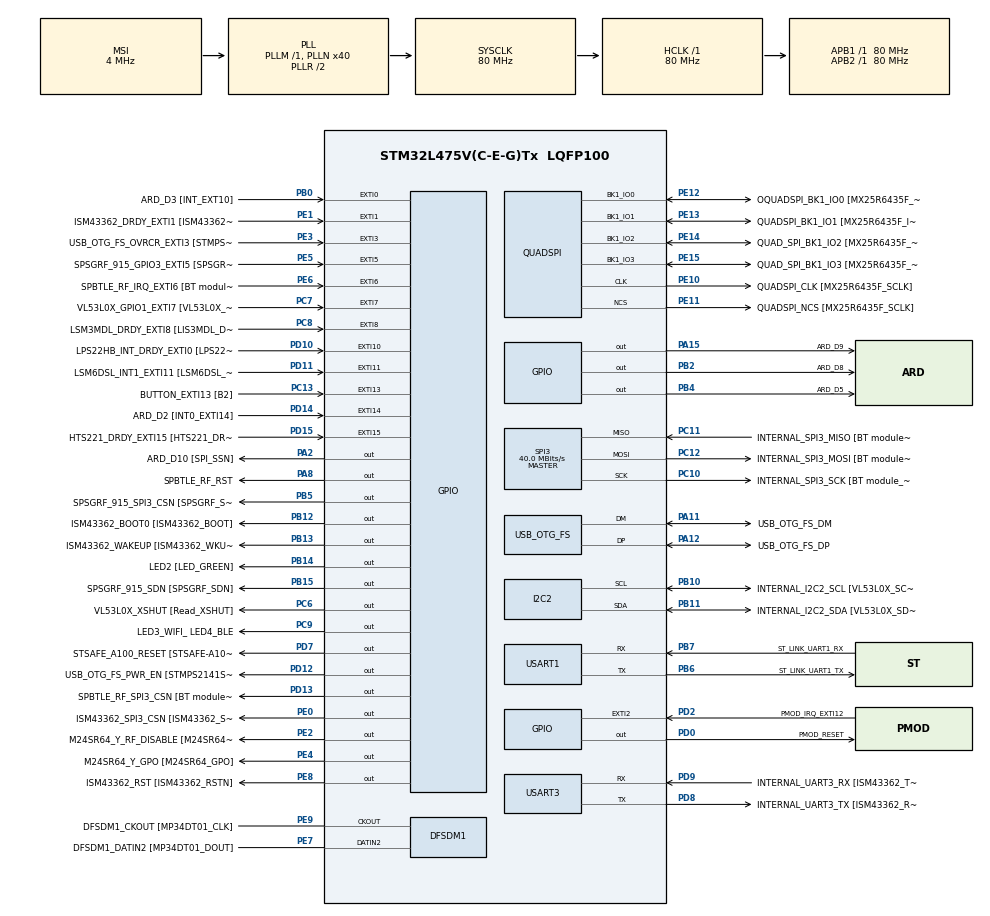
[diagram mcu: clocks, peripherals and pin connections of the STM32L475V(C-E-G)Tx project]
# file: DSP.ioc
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Dma.Request0=USART1_TX
Dma.USART1_TX.0.Direction=DMA_MEMORY_TO_PERIPH
Dma.USART1_TX.0.Instance=DMA1_Channel4
Dma.USART1_TX.0.MemDataAlignment=DMA_MDATAALIGN_BYTE
Dma.USART1_TX.0.MemInc=DMA_MINC_ENABLE
Dma.USART1_TX.0.Mode=DMA_NORMAL
Dma.USART1_TX.0.PeriphDataAlignment=DMA_PDATAALIGN_BYTE
Dma.USART1_TX.0.PeriphInc=DMA_PINC_DISABLE
Dma.USART1_TX.0.Priority=DMA_PRIORITY_LOW
I2C2.Timing=0x10909CEC
Mcu.Family=STM32L4
Mcu.Name=STM32L475V(C-E-G)Tx
Mcu.Package=LQFP100
NVIC.DMA1_Channel4_IRQn=true\:0\:0\:false\:false\:true\:false\:true\:true
NVIC.EXTI15_10_IRQn=true\:0\:0\:false\:false\:true\:true\:true\:true
NVIC.EXTI9_5_IRQn=true\:0\:0\:false\:false\:true\:true\:true\:true
NVIC.PriorityGroup=NVIC_PRIORITYGROUP_4
PA0.GPIO_Label=ARD_D1 [UART4_TX]
PA0.Signal=UART4_TX
PA1.GPIO_Label=ARD_D0 [UART4_RX]
PA1.Signal=UART4_RX
PA10.GPIO_Label=USB_OTG_FS_ID
PA10.Signal=USB_OTG_FS_ID
PA11.GPIO_Label=USB_OTG_FS_DM
PA11.Mode=Device_Only
PA11.Signal=USB_OTG_FS_DM
PA12.GPIO_Label=USB_OTG_FS_DP
PA12.Mode=Device_Only
PA12.Signal=USB_OTG_FS_DP
PA13\ (JTMS-SWDIO).GPIO_Label=SYS_JTMS_SWDIO
PA13\ (JTMS-SWDIO).Mode=Serial_Wire
PA13\ (JTMS-SWDIO).Signal=SYS_JTMS-SWDIO
PA14\ (JTCK-SWCLK).GPIO_Label=SYS_JTCK_SWCLK
PA14\ (JTCK-SWCLK).Mode=Serial_Wire
PA14\ (JTCK-SWCLK).Signal=SYS_JTCK-SWCLK
PA15\ (JTDI).GPIO_Label=ARD_D9
PA15\ (JTDI).Signal=GPIO_Output
PA2.GPIO_Label=ARD_D10 [SPI_SSN]
PA2.Signal=GPIO_Output
PA3.GPIO_Label=ARD_D4
PA3.Signal=S_TIM2_CH4
PA4.GPIO_Label=ARD_D7
PA4.Signal=ADCx_IN9
PA5.GPIO_Label=ARD_D13 [SPI1_SCK]
PA5.Signal=SPI1_SCK
PA6.GPIO_Label=ARD_D12 [SPI1_MISO]
PA6.Signal=SPI1_MISO
PA7.GPIO_Label=ARD_D11 [SPI1_MOSI]
PA7.Signal=SPI1_MOSI
PA8.GPIO_Label=SPBTLE_RF_RST
PA8.Signal=GPIO_Output
PA9.GPIO_Label=USB_OTG_FS_VBUS [STMPS2141STR_OUT]
PA9.Signal=USB_OTG_FS_VBUS
PB0.GPIO_Label=ARD_D3 [INT_EXT10]
PB0.Signal=GPXTI0
PB1.GPIO_Label=ARD_D6 [ADC1_IN6]
PB1.Signal=ADCx_IN16
PB10.GPIO_Label=INTERNAL_I2C2_SCL [VL53L0X_SCL]
PB10.GPIO_Pu=GPIO_PULLUP
PB10.Mode=I2C
PB10.Signal=I2C2_SCL
PB11.GPIO_Label=INTERNAL_I2C2_SDA [VL53L0X_SDA]
PB11.GPIO_Pu=GPIO_PULLUP
PB11.Mode=I2C
PB11.Signal=I2C2_SDA
PB12.GPIO_Label=ISM43362_BOOT0 [ISM43362_BOOT]
PB12.Signal=GPIO_Output
PB13.GPIO_Label=ISM43362_WAKEUP [ISM43362_WKUP]
PB13.Signal=GPIO_Output
PB14.GPIO_Label=LED2 [LED_GREEN]
PB14.Signal=GPIO_Output
PB15.GPIO_Label=SPSGRF_915_SDN [SPSGRF_SDN]
PB15.Signal=GPIO_Output
PB2.GPIO_Label=ARD_D8
PB2.Signal=GPIO_Output
PB3\ (JTDO-TRACESWO).GPIO_Label=SYS_JTD0_SWO
PB3\ (JTDO-TRACESWO).Signal=SYS_JTDO-SWO
PB4\ (NJTRST).GPIO_Label=ARD_D5
PB4\ (NJTRST).Signal=GPIO_Output
PB5.GPIO_Label=SPSGRF_915_SPI3_CSN [SPSGRF_SPI_CS]
PB5.PinState=GPIO_PIN_SET
PB5.Signal=GPIO_Output
PB6.GPIO_Label=ST_LINK_UART1_TX
PB6.Mode=Asynchronous
PB6.Signal=USART1_TX
PB7.GPIO_Label=ST_LINK_UART1_RX
PB7.Mode=Asynchronous
PB7.Signal=USART1_RX
PB8.GPIO_Label=ARD_D15 [I2C1_SCL]
PB8.Signal=I2C1_SCL
PB9.GPIO_Label=ARD_D14 [I2C1_SDA]
PB9.Signal=I2C1_SDA
PC0.GPIO_Label=ARD_A5 [ADC]
PC0.Signal=ADCx_IN1
PC1.GPIO_Label=ARD_A4 [ADC]
PC1.Signal=ADCx_IN2
PC10.GPIO_Label=INTERNAL_SPI3_SCK [BT module_SPI_SCLK] [ISM43362_SCK]
PC10.Mode=Full_Duplex_Master
PC10.Signal=SPI3_SCK
PC11.GPIO_Label=INTERNAL_SPI3_MISO [BT module_SPI_MISO] [ISM43362_MISO]
PC11.Mode=Full_Duplex_Master
PC11.Signal=SPI3_MISO
PC12.GPIO_Label=INTERNAL_SPI3_MOSI [BT module_SPI_MOSI] [ISM43362_MOSI]
PC12.Mode=Full_Duplex_Master
PC12.Signal=SPI3_MOSI
PC13.GPIO_Label=BUTTON_EXTI13 [B2]
PC13.GPIO_ModeDefaultEXTI=GPIO_MODE_IT_FALLING
PC13.Signal=GPXTI13
PC14-OSC32_IN\ (PC14).Mode=LSE-External-Oscillator
PC14-OSC32_IN\ (PC14).Signal=RCC_OSC32_IN
PC15-OSC32_OUT\ (PC15).Mode=LSE-External-Oscillator
PC15-OSC32_OUT\ (PC15).Signal=RCC_OSC32_OUT
PC2.GPIO_Label=ARD_A3 [ADC]
PC2.Signal=ADCx_IN3
PC3.GPIO_Label=ARD_A2 [ADC]
PC3.Signal=ADCx_IN4
PC4.GPIO_Label=ARD_A1 [ADC]
PC4.Signal=ADCx_IN13
PC5.GPIO_Label=ARD_A0 [ADC]
PC5.Signal=ADCx_IN14
PC6.GPIO_Label=VL53L0X_XSHUT [Read_XSHUT]
PC6.Signal=GPIO_Output
PC7.GPIO_Label=VL53L0X_GPIO1_EXTI7 [VL53L0X_GPIO1]
PC7.Signal=GPXTI7
PC8.GPIO_Label=LSM3MDL_DRDY_EXTI8 [LIS3MDL_DRDY]
PC8.Signal=GPXTI8
PC9.GPIO_Label=LED3_WIFI_ LED4_BLE
PC9.Signal=GPIO_Output
PD0.GPIO_Label=PMOD_RESET
PD0.Signal=GPIO_Output
PD1.GPIO_Label=PMOD_SPI2_SCK
PD1.Signal=SPI2_SCK
PD10.GPIO_Label=LPS22HB_INT_DRDY_EXTI0 [LPS22HB_INT_DRDY] 
PD10.Signal=GPXTI10
PD11.GPIO_Label=LSM6DSL_INT1_EXTI11 [LSM6DSL_INT1]
PD11.Signal=GPXTI11
PD12.GPIO_Label=USB_OTG_FS_PWR_EN [STMPS2141STR_EN]
PD12.Signal=GPIO_Output
PD13.GPIO_Label=SPBTLE_RF_SPI3_CSN [BT module_SPI_CS]
PD13.PinState=GPIO_PIN_SET
PD13.Signal=GPIO_Output
PD14.GPIO_Label=ARD_D2 [INT0_EXTI14]
PD14.Signal=GPXTI14
PD15.GPIO_Label=HTS221_DRDY_EXTI15 [HTS221_DRDY]
PD15.Signal=GPXTI15
PD2.GPIO_Label=PMOD_IRQ_EXTI12
PD2.Signal=GPXTI2
PD3.GPIO_Label=PMOD_UART2_CTS
PD3.Signal=USART2_CTS
PD4.GPIO_Label=PMOD_UART2_RTS
PD4.Signal=USART2_RTS
PD5.GPIO_Label=PMOD_UART2_TX
PD5.Signal=USART2_TX
PD6.GPIO_Label=PMOD_UART2_RX
PD6.Signal=USART2_RX
PD7.GPIO_Label=STSAFE_A100_RESET [STSAFE-A100_RESET]
PD7.Signal=GPIO_Output
PD8.GPIO_Label=INTERNAL_UART3_TX [ISM43362_RX]
PD8.Mode=Asynchronous
PD8.Signal=USART3_TX
PD9.GPIO_Label=INTERNAL_UART3_RX [ISM43362_TX]
PD9.Mode=Asynchronous
PD9.Signal=USART3_RX
PE0.GPIO_Label=ISM43362_SPI3_CSN [ISM43362_SSN]
PE0.PinState=GPIO_PIN_SET
PE0.Signal=GPIO_Output
PE1.GPIO_Label=ISM43362_DRDY_EXTI1 [ISM43362_DATARDY]
PE1.Signal=GPXTI1
PE10.GPIO_Label=QUADSPI_CLK [MX25R6435F_SCLK]
PE10.Mode=Single Bank
PE10.Signal=QUADSPI_CLK
PE11.GPIO_Label=QUADSPI_NCS [MX25R6435F_SCLK]
PE11.Mode=Single Bank
PE11.Signal=QUADSPI_NCS
PE12.GPIO_Label=OQUADSPI_BK1_IO0 [MX25R6435F_IO0]
PE12.Mode=Single Bank
PE12.Signal=QUADSPI_BK1_IO0
PE13.GPIO_Label=QUADSPI_BK1_IO1 [MX25R6435F_IO1]
PE13.Mode=Single Bank
PE13.Signal=QUADSPI_BK1_IO1
PE14.GPIO_Label=QUAD_SPI_BK1_IO2 [MX25R6435F_IO2]
PE14.Mode=Single Bank
PE14.Signal=QUADSPI_BK1_IO2
PE15.GPIO_Label=QUAD_SPI_BK1_IO3 [MX25R6435F_IO3]
PE15.Mode=Single Bank
PE15.Signal=QUADSPI_BK1_IO3
PE2.GPIO_Label=M24SR64_Y_RF_DISABLE [M24SR64_RFDIS]
PE2.Signal=GPIO_Output
PE3.GPIO_Label=USB_OTG_FS_OVRCR_EXTI3 [STMPS2141STR_FAULT]
PE3.Signal=GPXTI3
PE4.GPIO_Label=M24SR64_Y_GPO [M24SR64_GPO]
PE4.Signal=GPIO_Output
PE5.GPIO_Label=SPSGRF_915_GPIO3_EXTI5 [SPSGRF_GPIO_3]
PE5.Signal=GPXTI5
PE6.GPIO_Label=SPBTLE_RF_IRQ_EXTI6 [BT module_SPI_IRQ]
PE6.Signal=GPXTI6
PE7.GPIO_Label=DFSDM1_DATIN2 [MP34DT01_DOUT]
PE7.Signal=S_DATAIN2DFSDM1
PE8.GPIO_Label=ISM43362_RST [ISM43362_RSTN]
PE8.Signal=GPIO_Output
PE9.GPIO_Label=DFSDM1_CKOUT [MP34DT01_CLK]
PE9.Signal=S_CKOUTDFSDM1
ProjectManager.HeapSize=0x200
ProjectManager.StackSize=0x400
ProjectManager.TargetToolchain=CMake
QUADSPI.ClockPrescaler=2
QUADSPI.FifoThreshold=4
QUADSPI.FlashSize=23
QUADSPI.SampleShifting=QSPI_SAMPLE_SHIFTING_HALFCYCLE
RCC.ADCFreq_Value=48000000
RCC.AHBFreq_Value=80000000
RCC.APB1Freq_Value=80000000
RCC.APB1TimFreq_Value=80000000
RCC.APB2Freq_Value=80000000
RCC.APB2TimFreq_Value=80000000
RCC.CortexFreq_Value=80000000
RCC.HCLKFreq_Value=80000000
RCC.HSE_VALUE=8000000
RCC.HSI_VALUE=16000000
RCC.MSI_VALUE=4000000
RCC.PLLN=40
RCC.PLLSAI1N=24
RCC.SYSCLKFreq_VALUE=80000000
RCC.SYSCLKSource=RCC_SYSCLKSOURCE_PLLCLK
RCC.USBFreq_Value=48000000
RCC.VCOOutputFreq_Value=160000000
SH.ADCx_IN1.0=ADC1_IN1
SH.ADCx_IN13.0=ADC1_IN13
SH.ADCx_IN14.0=ADC1_IN14
SH.ADCx_IN16.0=ADC1_IN16
SH.ADCx_IN2.0=ADC1_IN2
SH.ADCx_IN3.0=ADC1_IN3
SH.ADCx_IN4.0=ADC1_IN4
SH.ADCx_IN9.0=ADC1_IN9
SH.S_CKOUTDFSDM1.0=DFSDM1_CKOUT,CKOUT
SH.S_CKOUTDFSDM1.1=DFSDM1_CKOUT,PDM_SPI_Input_from_ch12_and_Internal_Clock
SH.S_DATAIN2DFSDM1.0=DFSDM1_DATIN2,PDM_SPI_Input_from_ch12_and_Internal_Clock
SH.S_TIM2_CH4.0=TIM2_CH4
SPI3.CalculateBaudRate=40.0 MBits/s
SPI3.Direction=SPI_DIRECTION_2LINES
SPI3.Mode=SPI_MODE_MASTER
SPI3.VirtualType=VM_MASTER
STMicroelectronics.X-CUBE-ALGOBUILD.1.3.0.LibraryCcDSPOoLibraryJjDSPOoLibrary=true
USART1.VirtualMode-Asynchronous=VM_ASYNC
USART3.VirtualMode-Asynchronous=VM_ASYNC
USB_OTG_FS.VirtualMode=Device_Only
VP_STMicroelectronics.X-CUBE-ALGOBUILD_VS_DSPOoLibraryJjLibrary_1.3.0_1.3.0.Mode=DSPOoLibraryJjLibrary
board=B-L475E-IOT01A1

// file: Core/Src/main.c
/* USER CODE BEGIN Header */
/**
 ******************************************************************************
 * @file           : main.c
 * @brief          : Main program body
 ******************************************************************************
 * @attention
 *
 * Copyright (c) 2024 STMicroelectronics.
 * All rights reserved.
 *
 * This software is licensed under terms that can be found in the LICENSE file
 * in the root directory of this software component.
 * If no LICENSE file comes with this software, it is provided AS-IS.
 *
 ******************************************************************************
 */
/* USER CODE END Header */
#include "main.h"
#include "dfsdm.h"
#include "dma.h"
#include "i2c.h"
#include "quadspi.h"
#include "spi.h"
#include "usart.h"
#include "usb_otg.h"
#include "gpio.h"

/* USER CODE BEGIN Includes */
#include <stdio.h>
#include <math.h>
#include "arm_math.h"
#include "math_helper.h"
#include "stm32l475e_iot01_accelero.h"
/* USER CODE END Includes */

/* USER CODE BEGIN PD */
#ifdef __GNUC__
#define PUTCHAR_PROTOTYPE int __io_putchar(int ch)
#else
#define PUTCHAR_PROTOTYPE int fputc(int ch, FILE *f)
#endif /* __GNUC__ */

#define TEST_LENGTH_SAMPLES 320
#define SNR_THRESHOLD_F32 140.0f
#define BLOCK_SIZE 32
#define NUM_TAPS 29
// #define FIR_EXAMPLE
/* USER CODE END PD */

/* USER CODE BEGIN PV */
float sin_out[256];
float fft_mag[256];
float fft_out[256];
char msg[100];
int16_t pDataXYZ[3] = {0};

/* -------------------------------------------------------------------
 * The input signal and reference output (computed with MATLAB)
 * are defined externally in arm_fir_lpf_data.c.
 * ------------------------------------------------------------------- */

extern float32_t testInput_f32_1kHz_15kHz[TEST_LENGTH_SAMPLES];
extern float32_t refOutput[TEST_LENGTH_SAMPLES];

/* -------------------------------------------------------------------
 * Declare Test output buffer
 * ------------------------------------------------------------------- */

static float32_t testOutput[TEST_LENGTH_SAMPLES];
static float32_t testInput[TEST_LENGTH_SAMPLES];

/* -------------------------------------------------------------------
 * Declare State buffer of size (numTaps + blockSize - 1)
 * ------------------------------------------------------------------- */

static float32_t firStateF32[BLOCK_SIZE + NUM_TAPS - 1];

/* ----------------------------------------------------------------------
** FIR Coefficients buffer generated using fir1() MATLAB function.
** fir1(28, 6/24)
** ------------------------------------------------------------------- */

const float32_t firCoeffs32[NUM_TAPS] = {
    -0.0018225230f, -0.0015879294f, +0.0000000000f, +0.0036977508f, +0.0080754303f, +0.0085302217f, -0.0000000000f, -0.0173976984f,
    -0.0341458607f, -0.0333591565f, +0.0000000000f, +0.0676308395f, +0.1522061835f, +0.2229246956f, +0.2504960933f, +0.2229246956f,
    +0.1522061835f, +0.0676308395f, +0.0000000000f, -0.0333591565f, -0.0341458607f, -0.0173976984f, -0.0000000000f, +0.0085302217f,
    +0.0080754303f, +0.0036977508f, +0.0000000000f, -0.0015879294f, -0.0018225230f};

const float32_t myfirCoeffs32[NUM_TAPS] = {
    0.002473435810475501f, 0.003343127445659259f, 0.005336578223975353f, 0.008720202929326822f, 0.013628967885133642f, 0.02003713296555303f, 0.027746331317450117f, 0.036393180280610914f, 0.04547630443435468f, 0.054400296473695105f, 0.06253203866712877f, 0.06926322441214175f, 0.0740720610951766f, 0.07657711805931847f, 0.07657711805931847f, 0.0740720610951766f, 0.06926322441214175f, 0.06253203866712877f, 0.054400296473695126f, 0.045476304434354686f, 0.03639318028061092f, 0.02774633131745012f, 0.020037132965553033f, 0.013628967885133642f, 0.008720202929326822f, 0.005336578223975353f, 0.003343127445659259f, 0.002473435810475501f};

/* ------------------------------------------------------------------
 * Global variables for FIR LPF Example
 * ------------------------------------------------------------------- */

uint32_t blockSize = BLOCK_SIZE;
uint32_t numBlocks = TEST_LENGTH_SAMPLES / BLOCK_SIZE;

float32_t snr;
/* USER CODE END PV */

void SystemClock_Config(void);
/* USER CODE BEGIN PFP */
void int16_to_float(int16_t *a, float *b, int length);
void DSP_Test(void);
/* USER CODE END PFP */

int main(void)
{

  /* USER CODE BEGIN 1 */
  uint32_t i;
  arm_fir_instance_f32 S;
  arm_status status;
  float32_t *inputF32, *outputF32;

/* Initialize input and output buffer pointers */
#ifdef FIR_EXAMPLE
  inputF32 = &testInput_f32_1kHz_15kHz[0];
  outputF32 = &testOutput[0];
#endif
  inputF32 = &testInput[0];
  outputF32 = &testOutput[0];
  /* USER CODE END 1 */

  /* MCU Configuration--------------------------------------------------------*/

  /* Reset of all peripherals, Initializes the Flash interface and the Systick. */
  HAL_Init();

  /* USER CODE BEGIN Init */
  BSP_ACCELERO_Init();
  /* USER CODE END Init */

  /* Configure the system clock */
  SystemClock_Config();

  /* Initialize all configured peripherals */
  MX_GPIO_Init();
  MX_DMA_Init();
  MX_DFSDM1_Init();
  MX_I2C2_Init();
  MX_QUADSPI_Init();
  MX_SPI3_Init();
  MX_USART1_UART_Init();
  MX_USART3_UART_Init();
  MX_USB_OTG_FS_PCD_Init();
/* USER CODE BEGIN 2 */
#ifdef FIR_EXAMPLE
  HAL_UART_Transmit(&huart1, (uint8_t *)inputF32, 320 * sizeof(float), HAL_MAX_DELAY);
  /* Call FIR init function to initialize the instance structure. */

  arm_fir_init_f32(&S, NUM_TAPS, (float32_t *)&firCoeffs32[0], &firStateF32[0], blockSize);

  /* ----------------------------------------------------------------------
  ** Call the FIR process function for every blockSize samples
  ** ------------------------------------------------------------------- */
  for (i = 0; i < numBlocks; i++)
  {
    arm_fir_f32(&S, inputF32 + (i * blockSize), outputF32 + (i * blockSize), blockSize);
  }
  HAL_UART_Transmit(&huart1, (uint8_t *)outputF32, 320 * sizeof(float), HAL_MAX_DELAY);

  /* ----------------------------------------------------------------------
  ** Compare the generated output against the reference output computed
  ** in MATLAB.
  ** ------------------------------------------------------------------- */

  snr = arm_snr_f32(&refOutput[0], &testOutput[0], TEST_LENGTH_SAMPLES);

  if (snr < SNR_THRESHOLD_F32)
  {
    status = ARM_MATH_TEST_FAILURE;
  }
  else
  {
    status = ARM_MATH_SUCCESS;
  }
#endif
  /* Call FIR init function to initialize the instance structure. */

  arm_fir_init_f32(&S, NUM_TAPS, (float32_t *)&myfirCoeffs32[0], &firStateF32[0], blockSize);

  /* USER CODE END 2 */

  /* Infinite loop */
  /* USER CODE BEGIN WHILE */
  while (1)
  {
    for (int i = 0; i < 320; i++)
    {
      BSP_ACCELERO_AccGetXYZ(pDataXYZ);
      inputF32[i] = (float)pDataXYZ[0];
      // inputF32[i] = (float)sin(2*PI*0.008*i); //for verification
    }
    /* ----------------------------------------------------------------------
    ** Call the FIR process function for every blockSize samples
    ** ------------------------------------------------------------------- */
    for (i = 0; i < numBlocks; i++)
    {
      arm_fir_f32(&S, inputF32 + (i * blockSize), outputF32 + (i * blockSize), blockSize);
    }
    HAL_UART_Transmit(&huart1, (uint8_t *)"start", 5, HAL_MAX_DELAY);
    HAL_UART_Transmit(&huart1, (uint8_t *)inputF32, 320 * sizeof(float), HAL_MAX_DELAY);
    HAL_UART_Transmit(&huart1, (uint8_t *)outputF32, 320 * sizeof(float), HAL_MAX_DELAY);

    // sprintf(msg, "%d %d %d\n", pDataXYZ[0], pDataXYZ[1], pDataXYZ[2]);
    // HAL_UART_Transmit(&huart1, (uint8_t *)msg, strlen(msg), HAL_MAX_DELAY);
    /* USER CODE END WHILE */

  }
}

void SystemClock_Config(void)
{
  RCC_OscInitTypeDef RCC_OscInitStruct = {0};
  RCC_ClkInitTypeDef RCC_ClkInitStruct = {0};

  /** Configure the main internal regulator output voltage
   */
  if (HAL_PWREx_ControlVoltageScaling(PWR_REGULATOR_VOLTAGE_SCALE1) != HAL_OK)
  {
    Error_Handler();
  }

  /** Configure LSE Drive Capability
   */
  HAL_PWR_EnableBkUpAccess();
  __HAL_RCC_LSEDRIVE_CONFIG(RCC_LSEDRIVE_LOW);

  /** Initializes the RCC Oscillators according to the specified parameters
   * in the RCC_OscInitTypeDef structure.
   */
  RCC_OscInitStruct.OscillatorType = RCC_OSCILLATORTYPE_LSE | RCC_OSCILLATORTYPE_MSI;
  RCC_OscInitStruct.LSEState = RCC_LSE_ON;
  RCC_OscInitStruct.MSIState = RCC_MSI_ON;
  RCC_OscInitStruct.MSICalibrationValue = 0;
  RCC_OscInitStruct.MSIClockRange = RCC_MSIRANGE_6;
  RCC_OscInitStruct.PLL.PLLState = RCC_PLL_ON;
  RCC_OscInitStruct.PLL.PLLSource = RCC_PLLSOURCE_MSI;
  RCC_OscInitStruct.PLL.PLLM = 1;
  RCC_OscInitStruct.PLL.PLLN = 40;
  RCC_OscInitStruct.PLL.PLLP = RCC_PLLP_DIV7;
  RCC_OscInitStruct.PLL.PLLQ = RCC_PLLQ_DIV2;
  RCC_OscInitStruct.PLL.PLLR = RCC_PLLR_DIV2;
  if (HAL_RCC_OscConfig(&RCC_OscInitStruct) != HAL_OK)
  {
    Error_Handler();
  }

  /** Initializes the CPU, AHB and APB buses clocks
   */
  RCC_ClkInitStruct.ClockType = RCC_CLOCKTYPE_HCLK | RCC_CLOCKTYPE_SYSCLK | RCC_CLOCKTYPE_PCLK1 | RCC_CLOCKTYPE_PCLK2;
  RCC_ClkInitStruct.SYSCLKSource = RCC_SYSCLKSOURCE_PLLCLK;
  RCC_ClkInitStruct.AHBCLKDivider = RCC_SYSCLK_DIV1;
  RCC_ClkInitStruct.APB1CLKDivider = RCC_HCLK_DIV1;
  RCC_ClkInitStruct.APB2CLKDivider = RCC_HCLK_DIV1;

  if (HAL_RCC_ClockConfig(&RCC_ClkInitStruct, FLASH_LATENCY_4) != HAL_OK)
  {
    Error_Handler();
  }

  /** Enable MSI Auto calibration
   */
  HAL_RCCEx_EnableMSIPLLMode();
}

/* USER CODE BEGIN 4 */
void int16_to_float(int16_t *a, float *b, int length)
{
  for (int i = 0; i < length; i++)
  {
    b[i] = (float)a[i];
  }
}
PUTCHAR_PROTOTYPE
{
  HAL_UART_Transmit(&huart1, (uint8_t *)&ch, 1, 0xFFFF);
  return ch;
}

void DSP_Test()
{
  arm_rfft_fast_instance_f32 S;

  for (uint16_t i = 0; i < 256; i++)
  {
    sin_out[i] = arm_sin_f32(i * 2 * 3.1416f / 128) + 0.3f * arm_sin_f32(i * 2 * 3.1416f / 16);
  }
  HAL_UART_Transmit(&huart1, (uint8_t *)sin_out, 256 * sizeof(float), HAL_MAX_DELAY);
}
/* USER CODE END 4 */

void Error_Handler(void)
{
  __disable_irq();
  while (1)
  {
  }
}
